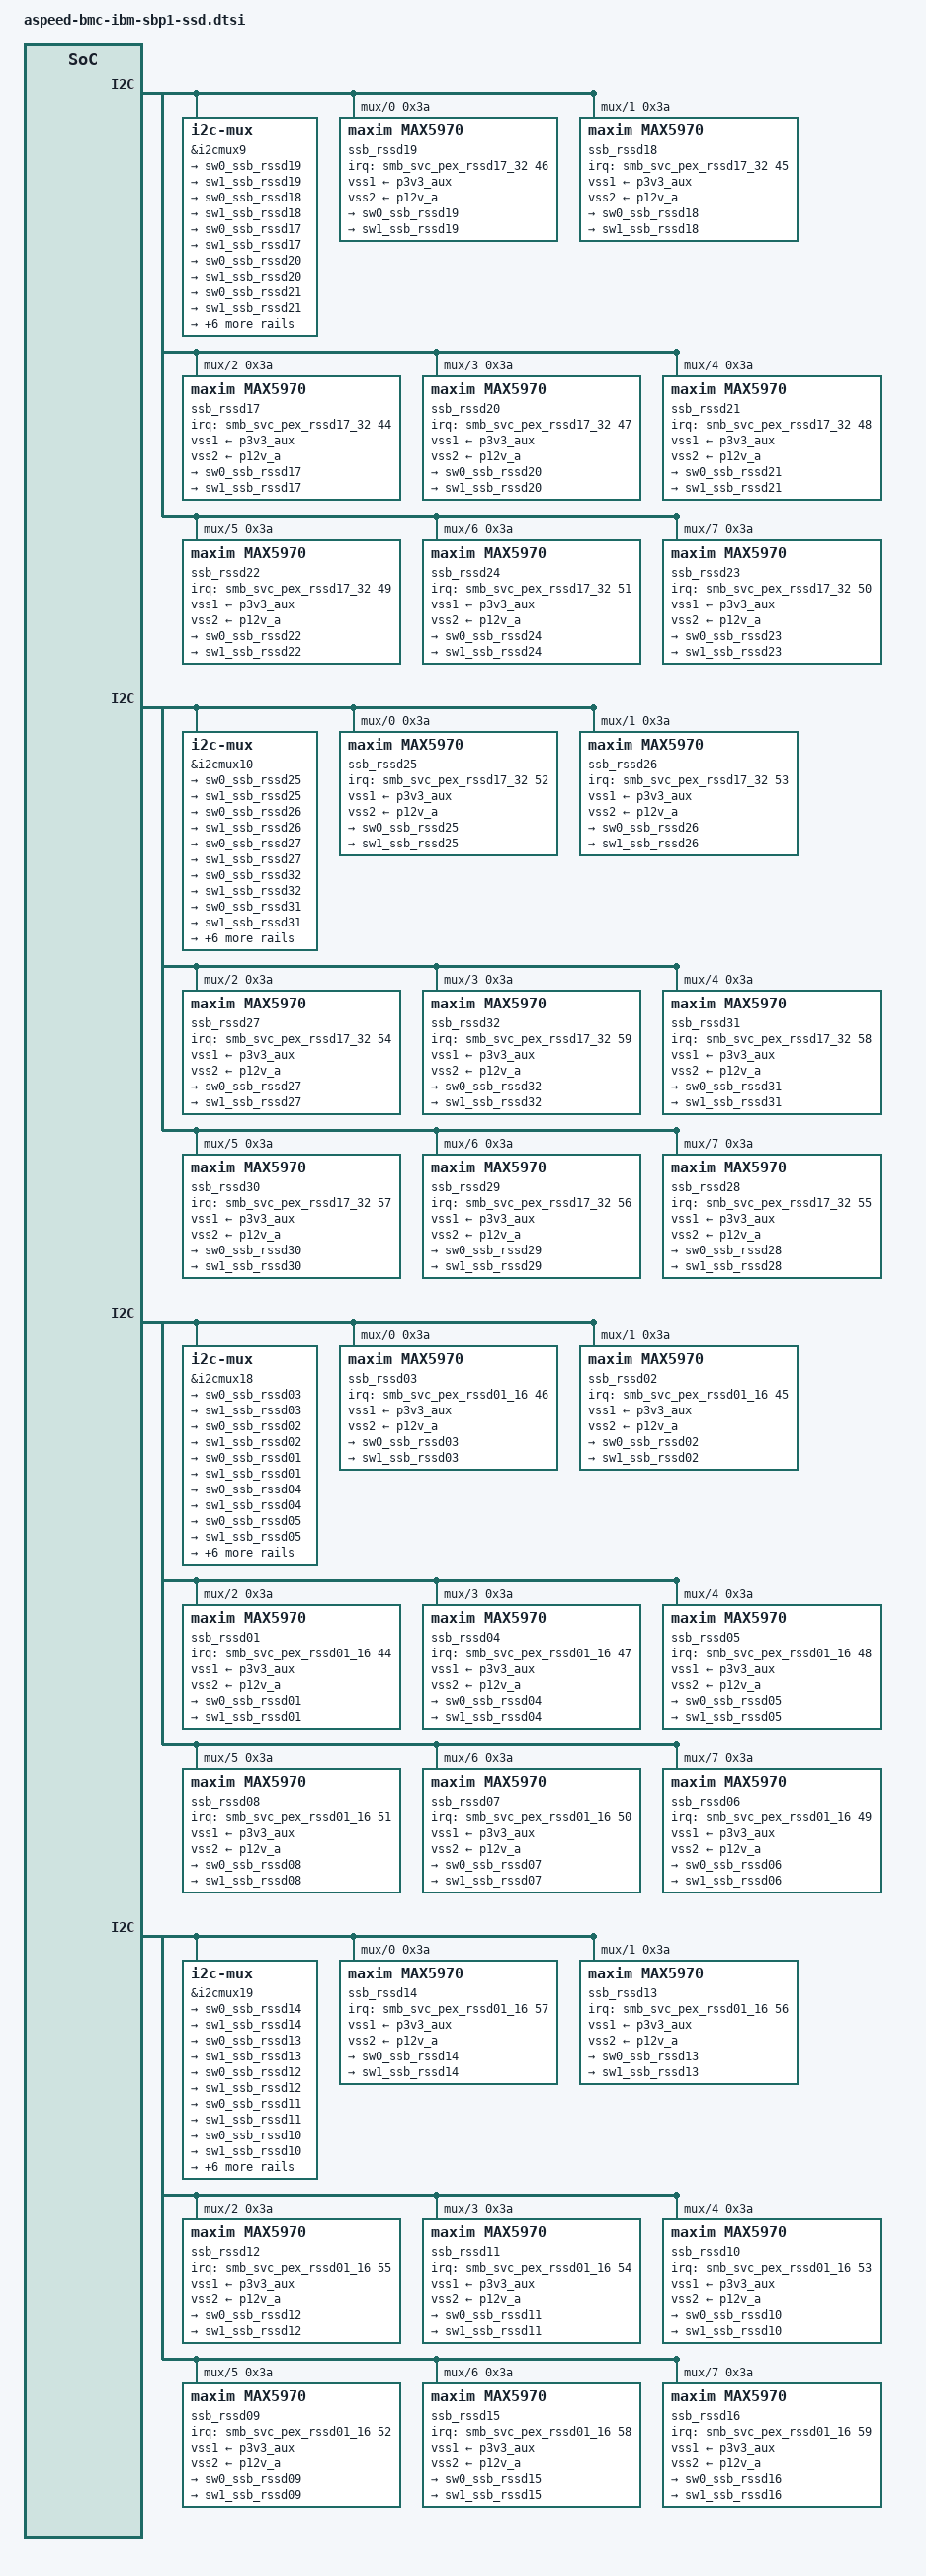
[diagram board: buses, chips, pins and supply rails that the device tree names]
&i2cmux9 {
	i2c@0 { // MUX_SSB_RSSD19
		#address-cells = <1>;
		#size-cells = <0>;
		reg = <0>;
		ssb_rssd19: regulator@3a {
			reg = <0x3a>;
			compatible = "maxim,max5970";
			#io-channel-cells = <1>;
			interrupt-parent = <&smb_svc_pex_rssd17_32>;
			interrupts = <46 IRQ_TYPE_LEVEL_LOW>; // SSB_RSSD19_ALERT_N
			// FIXME: Move to regulators
			vss1-supply = <&p3v3_aux>;
			vss2-supply = <&p12v_a>;
			shunt-resistor-micro-ohms = <100000 4500000>;
			leds {
				power {
					label = "rssd19:green:power";
					reg = <0>;
					default-state = "off";
				};
			};
			regulators {
				sw0_ssb_rssd19: SW0 {
					vss1-supply = <&p3v3_aux>;
					regulator-compatible = "SW0";
					regulator-name = "rssd19_3v3";
					shunt-resistor-micro-ohms = <100000>;
					regulator-over-current-protection;
					regulator-oc-protection-microamp = <410000>;
					regulator-enable-ramp-delay = <1000>;
				};
				sw1_ssb_rssd19: SW1 {
					vss2-supply = <&p12v_a>;
					regulator-compatible = "SW1";
					regulator-name = "rssd19_12v";
					shunt-resistor-micro-ohms = <9000>;
					regulator-over-current-protection;
					regulator-oc-protection-microamp = <4500000>;
					regulator-enable-ramp-delay = <1000>;
				};
			};
		};
	};
	i2c@1 { // MUX_SSB_RSSD18
		#address-cells = <1>;
		#size-cells = <0>;
		reg = <1>;
		ssb_rssd18: regulator@3a {
			reg = <0x3a>;
			compatible = "maxim,max5970";
			#io-channel-cells = <1>;
			interrupt-parent = <&smb_svc_pex_rssd17_32>;
			interrupts = <45 IRQ_TYPE_LEVEL_LOW>; // SSB_RSSD18_ALERT_N
			// FIXME: Move to regulators
			vss1-supply = <&p3v3_aux>;
			vss2-supply = <&p12v_a>;
			shunt-resistor-micro-ohms = <100000 4500000>;
			leds {
				power {
					label = "rssd18:green:power";
					reg = <0>;
					default-state = "off";
				};
			};
			regulators {
				sw0_ssb_rssd18: SW0 {
					vss1-supply = <&p3v3_aux>;
					regulator-compatible = "SW0";
					regulator-name = "rssd18_3v3";
					shunt-resistor-micro-ohms = <100000>;
					regulator-over-current-protection;
					regulator-oc-protection-microamp = <410000>;
					regulator-enable-ramp-delay = <1000>;
				};
				sw1_ssb_rssd18: SW1 {
					vss2-supply = <&p12v_a>;
					regulator-compatible = "SW1";
					regulator-name = "rssd18_12v";
					shunt-resistor-micro-ohms = <9000>;
					regulator-over-current-protection;
					regulator-oc-protection-microamp = <4500000>;
					regulator-enable-ramp-delay = <1000>;
				};
			};
		};
	};
	i2c@2 { // MUX_SSB_RSSD17
		#address-cells = <1>;
		#size-cells = <0>;
		reg = <2>;
		ssb_rssd17: regulator@3a {
			reg = <0x3a>;
			compatible = "maxim,max5970";
			#io-channel-cells = <1>;
			interrupt-parent = <&smb_svc_pex_rssd17_32>;
			interrupts = <44 IRQ_TYPE_LEVEL_LOW>; // SSB_RSSD17_ALERT_N
			// FIXME: Move to regulators
			vss1-supply = <&p3v3_aux>;
			vss2-supply = <&p12v_a>;
			shunt-resistor-micro-ohms = <100000 4500000>;
			leds {
				power {
					label = "rssd17:green:power";
					reg = <0>;
					default-state = "off";
				};
			};
			regulators {
				sw0_ssb_rssd17: SW0 {
					vss1-supply = <&p3v3_aux>;
					regulator-compatible = "SW0";
					regulator-name = "rssd17_3v3";
					shunt-resistor-micro-ohms = <100000>;
					regulator-over-current-protection;
					regulator-oc-protection-microamp = <410000>;
					regulator-enable-ramp-delay = <1000>;
				};
				sw1_ssb_rssd17: SW1 {
					vss2-supply = <&p12v_a>;
					regulator-compatible = "SW1";
					regulator-name = "rssd17_12v";
					shunt-resistor-micro-ohms = <9000>;
					regulator-over-current-protection;
					regulator-oc-protection-microamp = <4500000>;
					regulator-enable-ramp-delay = <1000>;
				};
			};
		};
	};
	i2c@3 { // MUX_SSB_RSSD20
		#address-cells = <1>;
		#size-cells = <0>;
		reg = <3>;
		ssb_rssd20: regulator@3a {
			reg = <0x3a>;
			compatible = "maxim,max5970";
			#io-channel-cells = <1>;
			interrupt-parent = <&smb_svc_pex_rssd17_32>;
			interrupts = <47 IRQ_TYPE_LEVEL_LOW>; // SSB_RSSD20_ALERT_N
			// FIXME: Move to regulators
			vss1-supply = <&p3v3_aux>;
			vss2-supply = <&p12v_a>;
			shunt-resistor-micro-ohms = <100000 4500000>;
			leds {
				power {
					label = "rssd20:green:power";
					reg = <0>;
					default-state = "off";
				};
			};
			regulators {
				sw0_ssb_rssd20: SW0 {
					vss1-supply = <&p3v3_aux>;
					regulator-compatible = "SW0";
					regulator-name = "rssd20_3v3";
					shunt-resistor-micro-ohms = <100000>;
					regulator-over-current-protection;
					regulator-oc-protection-microamp = <410000>;
					regulator-enable-ramp-delay = <1000>;
				};
				sw1_ssb_rssd20: SW1 {
					vss2-supply = <&p12v_a>;
					regulator-compatible = "SW1";
					regulator-name = "rssd20_12v";
					shunt-resistor-micro-ohms = <9000>;
					regulator-over-current-protection;
					regulator-oc-protection-microamp = <4500000>;
					regulator-enable-ramp-delay = <1000>;
				};
			};
		};
	};
	i2c@4 { // MUX_SSB_RSSD21
		#address-cells = <1>;
		#size-cells = <0>;
		reg = <4>;
		ssb_rssd21: regulator@3a {
			reg = <0x3a>;
			compatible = "maxim,max5970";
			#io-channel-cells = <1>;
			interrupt-parent = <&smb_svc_pex_rssd17_32>;
			interrupts = <48 IRQ_TYPE_LEVEL_LOW>; // SSB_RSSD21_ALERT_N
			// FIXME: Move to regulators
			vss1-supply = <&p3v3_aux>;
			vss2-supply = <&p12v_a>;
			shunt-resistor-micro-ohms = <100000 4500000>;
			leds {
				power {
					label = "rssd21:green:power";
					reg = <0>;
					default-state = "off";
				};
			};
			regulators {
				sw0_ssb_rssd21: SW0 {
					vss1-supply = <&p3v3_aux>;
					regulator-compatible = "SW0";
					regulator-name = "rssd21_3v3";
					shunt-resistor-micro-ohms = <100000>;
					regulator-over-current-protection;
					regulator-oc-protection-microamp = <410000>;
					regulator-enable-ramp-delay = <1000>;
				};
				sw1_ssb_rssd21: SW1 {
					vss2-supply = <&p12v_a>;
					regulator-compatible = "SW1";
					regulator-name = "rssd21_12v";
					shunt-resistor-micro-ohms = <9000>;
					regulator-over-current-protection;
					regulator-oc-protection-microamp = <4500000>;
					regulator-enable-ramp-delay = <1000>;
				};
			};
		};
	};
	i2c@5 { // MUX_SSB_RSSD22
		#address-cells = <1>;
		#size-cells = <0>;
		reg = <5>;
		ssb_rssd22: regulator@3a {
			reg = <0x3a>;
			compatible = "maxim,max5970";
			#io-channel-cells = <1>;
			interrupt-parent = <&smb_svc_pex_rssd17_32>;
			interrupts = <49 IRQ_TYPE_LEVEL_LOW>; // SSB_RSSD22_ALERT_N
			// FIXME: Move to regulators
			vss1-supply = <&p3v3_aux>;
			vss2-supply = <&p12v_a>;
			shunt-resistor-micro-ohms = <100000 4500000>;
			leds {
				power {
					label = "rssd22:green:power";
					reg = <0>;
					default-state = "off";
				};
			};
			regulators {
				sw0_ssb_rssd22: SW0 {
					vss1-supply = <&p3v3_aux>;
					regulator-compatible = "SW0";
					regulator-name = "rssd22_3v3";
					shunt-resistor-micro-ohms = <100000>;
					regulator-over-current-protection;
					regulator-oc-protection-microamp = <410000>;
					regulator-enable-ramp-delay = <1000>;
				};
				sw1_ssb_rssd22: SW1 {
					vss2-supply = <&p12v_a>;
					regulator-compatible = "SW1";
					regulator-name = "rssd22_12v";
					shunt-resistor-micro-ohms = <9000>;
					regulator-over-current-protection;
					regulator-oc-protection-microamp = <4500000>;
					regulator-enable-ramp-delay = <1000>;
				};
			};
		};
	};
	i2c@6 { // MUX_SSB_RSSD24
		#address-cells = <1>;
		#size-cells = <0>;
		reg = <6>;
		ssb_rssd24: regulator@3a {
			reg = <0x3a>;
			compatible = "maxim,max5970";
			#io-channel-cells = <1>;
			interrupt-parent = <&smb_svc_pex_rssd17_32>;
			interrupts = <51 IRQ_TYPE_LEVEL_LOW>; // SSB_RSSD24_ALERT_N
			// FIXME: Move to regulators
			vss1-supply = <&p3v3_aux>;
			vss2-supply = <&p12v_a>;
			shunt-resistor-micro-ohms = <100000 4500000>;
			leds {
				power {
					label = "rssd24:green:power";
					reg = <0>;
					default-state = "off";
				};
			};
			regulators {
				sw0_ssb_rssd24: SW0 {
					vss1-supply = <&p3v3_aux>;
					regulator-compatible = "SW0";
					regulator-name = "rssd24_3v3";
					shunt-resistor-micro-ohms = <100000>;
					regulator-over-current-protection;
					regulator-oc-protection-microamp = <410000>;
					regulator-enable-ramp-delay = <1000>;
				};
				sw1_ssb_rssd24: SW1 {
					vss2-supply = <&p12v_a>;
					regulator-compatible = "SW1";
					regulator-name = "rssd24_12v";
					shunt-resistor-micro-ohms = <9000>;
					regulator-over-current-protection;
					regulator-oc-protection-microamp = <4500000>;
					regulator-enable-ramp-delay = <1000>;
				};
			};
		};
	};
	i2c@7 { // MUX_SSB_RSSD23
		#address-cells = <1>;
		#size-cells = <0>;
		reg = <7>;
		ssb_rssd23: regulator@3a {
			reg = <0x3a>;
			compatible = "maxim,max5970";
			#io-channel-cells = <1>;
			interrupt-parent = <&smb_svc_pex_rssd17_32>;
			interrupts = <50 IRQ_TYPE_LEVEL_LOW>; // SSB_RSSD23_ALERT_N
			// FIXME: Move to regulators
			vss1-supply = <&p3v3_aux>;
			vss2-supply = <&p12v_a>;
			shunt-resistor-micro-ohms = <100000 4500000>;
			leds {
				power {
					label = "rssd23:green:power";
					reg = <0>;
					default-state = "off";
				};
			};
			regulators {
				sw0_ssb_rssd23: SW0 {
					vss1-supply = <&p3v3_aux>;
					regulator-compatible = "SW0";
					regulator-name = "rssd23_3v3";
					shunt-resistor-micro-ohms = <100000>;
					regulator-over-current-protection;
					regulator-oc-protection-microamp = <410000>;
					regulator-enable-ramp-delay = <1000>;
				};
				sw1_ssb_rssd23: SW1 {
					vss2-supply = <&p12v_a>;
					regulator-compatible = "SW1";
					regulator-name = "rssd23_12v";
					shunt-resistor-micro-ohms = <9000>;
					regulator-over-current-protection;
					regulator-oc-protection-microamp = <4500000>;
					regulator-enable-ramp-delay = <1000>;
				};
			};
		};
	};
};

&i2cmux10 {
	i2c@0 { // MUX_SSB_RSSD25
		#address-cells = <1>;
		#size-cells = <0>;
		reg = <0>;
		ssb_rssd25: regulator@3a {
			reg = <0x3a>;
			compatible = "maxim,max5970";
			#io-channel-cells = <1>;
			interrupt-parent = <&smb_svc_pex_rssd17_32>;
			interrupts = <52 IRQ_TYPE_LEVEL_LOW>; // SSB_RSSD25_ALERT_N
			// FIXME: Move to regulators
			vss1-supply = <&p3v3_aux>;
			vss2-supply = <&p12v_a>;
			shunt-resistor-micro-ohms = <100000 4500000>;
			leds {
				power {
					label = "rssd25:green:power";
					reg = <0>;
					default-state = "off";
				};
			};
			regulators {
				sw0_ssb_rssd25: SW0 {
					vss1-supply = <&p3v3_aux>;
					regulator-compatible = "SW0";
					regulator-name = "rssd25_3v3";
					shunt-resistor-micro-ohms = <100000>;
					regulator-over-current-protection;
					regulator-oc-protection-microamp = <410000>;
					regulator-enable-ramp-delay = <1000>;
				};
				sw1_ssb_rssd25: SW1 {
					vss2-supply = <&p12v_a>;
					regulator-compatible = "SW1";
					regulator-name = "rssd25_12v";
					shunt-resistor-micro-ohms = <9000>;
					regulator-over-current-protection;
					regulator-oc-protection-microamp = <4500000>;
					regulator-enable-ramp-delay = <1000>;
				};
			};
		};
	};
	i2c@1 { // MUX_SSB_RSSD26
		#address-cells = <1>;
		#size-cells = <0>;
		reg = <1>;
		ssb_rssd26: regulator@3a {
			reg = <0x3a>;
			compatible = "maxim,max5970";
			#io-channel-cells = <1>;
			interrupt-parent = <&smb_svc_pex_rssd17_32>;
			interrupts = <53 IRQ_TYPE_LEVEL_LOW>; // SSB_RSSD26_ALERT_N
			// FIXME: Move to regulators
			vss1-supply = <&p3v3_aux>;
			vss2-supply = <&p12v_a>;
			shunt-resistor-micro-ohms = <100000 4500000>;
			leds {
				power {
					label = "rssd26:green:power";
					reg = <0>;
					default-state = "off";
				};
			};
			regulators {
				sw0_ssb_rssd26: SW0 {
					vss1-supply = <&p3v3_aux>;
					regulator-compatible = "SW0";
					regulator-name = "rssd26_3v3";
					shunt-resistor-micro-ohms = <100000>;
					regulator-over-current-protection;
					regulator-oc-protection-microamp = <410000>;
					regulator-enable-ramp-delay = <1000>;
				};
				sw1_ssb_rssd26: SW1 {
					vss2-supply = <&p12v_a>;
					regulator-compatible = "SW1";
					regulator-name = "rssd26_12v";
					shunt-resistor-micro-ohms = <9000>;
					regulator-over-current-protection;
					regulator-oc-protection-microamp = <4500000>;
					regulator-enable-ramp-delay = <1000>;
				};
			};
		};
	};
	i2c@2 { // MUX_SSB_RSSD27
		#address-cells = <1>;
		#size-cells = <0>;
		reg = <2>;
		ssb_rssd27: regulator@3a {
			reg = <0x3a>;
			compatible = "maxim,max5970";
			#io-channel-cells = <1>;
			interrupt-parent = <&smb_svc_pex_rssd17_32>;
			interrupts = <54 IRQ_TYPE_LEVEL_LOW>; // SSB_RSSD27_ALERT_N
			// FIXME: Move to regulators
			vss1-supply = <&p3v3_aux>;
			vss2-supply = <&p12v_a>;
			shunt-resistor-micro-ohms = <100000 4500000>;
			leds {
				power {
					label = "rssd27:green:power";
					reg = <0>;
					default-state = "off";
				};
			};
			regulators {
				sw0_ssb_rssd27: SW0 {
					vss1-supply = <&p3v3_aux>;
					regulator-compatible = "SW0";
					regulator-name = "rssd27_3v3";
					shunt-resistor-micro-ohms = <100000>;
					regulator-over-current-protection;
					regulator-oc-protection-microamp = <410000>;
					regulator-enable-ramp-delay = <1000>;
				};
				sw1_ssb_rssd27: SW1 {
					vss2-supply = <&p12v_a>;
					regulator-compatible = "SW1";
					regulator-name = "rssd27_12v";
					shunt-resistor-micro-ohms = <9000>;
					regulator-over-current-protection;
					regulator-oc-protection-microamp = <4500000>;
					regulator-enable-ramp-delay = <1000>;
				};
			};
		};
	};
	i2c@3 { // MUX_SSB_RSSD32
		#address-cells = <1>;
		#size-cells = <0>;
		reg = <3>;
		ssb_rssd32: regulator@3a {
			reg = <0x3a>;
			compatible = "maxim,max5970";
			#io-channel-cells = <1>;
			interrupt-parent = <&smb_svc_pex_rssd17_32>;
			interrupts = <59 IRQ_TYPE_LEVEL_LOW>; // SSB_RSSD32_ALERT_N
			// FIXME: Move to regulators
			vss1-supply = <&p3v3_aux>;
			vss2-supply = <&p12v_a>;
			shunt-resistor-micro-ohms = <100000 4500000>;
			leds {
				power {
					label = "rssd32:green:power";
					reg = <0>;
					default-state = "off";
				};
			};
			regulators {
				sw0_ssb_rssd32: SW0 {
					vss1-supply = <&p3v3_aux>;
					regulator-compatible = "SW0";
					regulator-name = "rssd32_3v3";
					shunt-resistor-micro-ohms = <100000>;
					regulator-over-current-protection;
					regulator-oc-protection-microamp = <410000>;
					regulator-enable-ramp-delay = <1000>;
				};
				sw1_ssb_rssd32: SW1 {
					vss2-supply = <&p12v_a>;
					regulator-compatible = "SW1";
					regulator-name = "rssd32_12v";
					shunt-resistor-micro-ohms = <9000>;
					regulator-over-current-protection;
					regulator-oc-protection-microamp = <4500000>;
					regulator-enable-ramp-delay = <1000>;
				};
			};
		};
	};
	i2c@4 { // MUX_SSB_RSSD31
		#address-cells = <1>;
		#size-cells = <0>;
		reg = <4>;
		ssb_rssd31: regulator@3a {
			reg = <0x3a>;
			compatible = "maxim,max5970";
			#io-channel-cells = <1>;
			interrupt-parent = <&smb_svc_pex_rssd17_32>;
			interrupts = <58 IRQ_TYPE_LEVEL_LOW>; // SSB_RSSD31_ALERT_N
			// FIXME: Move to regulators
			vss1-supply = <&p3v3_aux>;
			vss2-supply = <&p12v_a>;
			shunt-resistor-micro-ohms = <100000 4500000>;
			leds {
				power {
					label = "rssd31:green:power";
					reg = <0>;
					default-state = "off";
				};
			};
			regulators {
				sw0_ssb_rssd31: SW0 {
					vss1-supply = <&p3v3_aux>;
					regulator-compatible = "SW0";
					regulator-name = "rssd31_3v3";
					shunt-resistor-micro-ohms = <100000>;
					regulator-over-current-protection;
					regulator-oc-protection-microamp = <410000>;
					regulator-enable-ramp-delay = <1000>;
				};
				sw1_ssb_rssd31: SW1 {
					vss2-supply = <&p12v_a>;
					regulator-compatible = "SW1";
					regulator-name = "rssd31_12v";
					shunt-resistor-micro-ohms = <9000>;
					regulator-over-current-protection;
					regulator-oc-protection-microamp = <4500000>;
					regulator-enable-ramp-delay = <1000>;
				};
			};
		};
	};
	i2c@5 { // MUX_SSB_RSSD30
		#address-cells = <1>;
		#size-cells = <0>;
		reg = <5>;
		ssb_rssd30: regulator@3a {
			reg = <0x3a>;
			compatible = "maxim,max5970";
			#io-channel-cells = <1>;
			interrupt-parent = <&smb_svc_pex_rssd17_32>;
			interrupts = <57 IRQ_TYPE_LEVEL_LOW>; // SSB_RSSD30_ALERT_N
			// FIXME: Move to regulators
			vss1-supply = <&p3v3_aux>;
			vss2-supply = <&p12v_a>;
			shunt-resistor-micro-ohms = <100000 4500000>;
			leds {
				power {
					label = "rssd30:green:power";
					reg = <0>;
					default-state = "off";
				};
			};
			regulators {
				sw0_ssb_rssd30: SW0 {
					vss1-supply = <&p3v3_aux>;
					regulator-compatible = "SW0";
					regulator-name = "rssd30_3v3";
					shunt-resistor-micro-ohms = <100000>;
					regulator-over-current-protection;
					regulator-oc-protection-microamp = <410000>;
					regulator-enable-ramp-delay = <1000>;
				};
				sw1_ssb_rssd30: SW1 {
					vss2-supply = <&p12v_a>;
					regulator-compatible = "SW1";
					regulator-name = "rssd30_12v";
					shunt-resistor-micro-ohms = <9000>;
					regulator-over-current-protection;
					regulator-oc-protection-microamp = <4500000>;
					regulator-enable-ramp-delay = <1000>;
				};
			};
		};
	};
	i2c@6 { // MUX_SSB_RSSD29
		#address-cells = <1>;
		#size-cells = <0>;
		reg = <6>;
		ssb_rssd29: regulator@3a {
			reg = <0x3a>;
			compatible = "maxim,max5970";
			#io-channel-cells = <1>;
			interrupt-parent = <&smb_svc_pex_rssd17_32>;
			interrupts = <56 IRQ_TYPE_LEVEL_LOW>; // SSB_RSSD29_ALERT_N
			// FIXME: Move to regulators
			vss1-supply = <&p3v3_aux>;
			vss2-supply = <&p12v_a>;
			shunt-resistor-micro-ohms = <100000 4500000>;
			leds {
				power {
					label = "rssd29:green:power";
					reg = <0>;
					default-state = "off";
				};
			};
			regulators {
				sw0_ssb_rssd29: SW0 {
					vss1-supply = <&p3v3_aux>;
					regulator-compatible = "SW0";
					regulator-name = "rssd29_3v3";
					shunt-resistor-micro-ohms = <100000>;
					regulator-over-current-protection;
					regulator-oc-protection-microamp = <410000>;
					regulator-enable-ramp-delay = <1000>;
				};
				sw1_ssb_rssd29: SW1 {
					vss2-supply = <&p12v_a>;
					regulator-compatible = "SW1";
					regulator-name = "rssd29_12v";
					shunt-resistor-micro-ohms = <9000>;
					regulator-over-current-protection;
					regulator-oc-protection-microamp = <4500000>;
					regulator-enable-ramp-delay = <1000>;
				};
			};
		};
	};
	i2c@7 { // MUX_SSB_RSSD28
		#address-cells = <1>;
		#size-cells = <0>;
		reg = <7>;
		ssb_rssd28: regulator@3a {
			reg = <0x3a>;
			compatible = "maxim,max5970";
			#io-channel-cells = <1>;
			interrupt-parent = <&smb_svc_pex_rssd17_32>;
			interrupts = <55 IRQ_TYPE_LEVEL_LOW>; // SSB_RSSD28_ALERT_N
			// FIXME: Move to regulators
			vss1-supply = <&p3v3_aux>;
			vss2-supply = <&p12v_a>;
			shunt-resistor-micro-ohms = <100000 4500000>;
			leds {
				power {
					label = "rssd28:green:power";
					reg = <0>;
					default-state = "off";
				};
			};
			regulators {
				sw0_ssb_rssd28: SW0 {
					vss1-supply = <&p3v3_aux>;
					regulator-compatible = "SW0";
					regulator-name = "rssd28_3v3";
					shunt-resistor-micro-ohms = <100000>;
					regulator-over-current-protection;
					regulator-oc-protection-microamp = <410000>;
					regulator-enable-ramp-delay = <1000>;
				};
				sw1_ssb_rssd28: SW1 {
					vss2-supply = <&p12v_a>;
					regulator-compatible = "SW1";
					regulator-name = "rssd28_12v";
					shunt-resistor-micro-ohms = <9000>;
					regulator-over-current-protection;
					regulator-oc-protection-microamp = <4500000>;
					regulator-enable-ramp-delay = <1000>;
				};
			};
		};
	};
};

&i2cmux18 {
	i2c@0 { // MUX_SSB_RSSD03
		#address-cells = <1>;
		#size-cells = <0>;
		reg = <0>;
		ssb_rssd03: regulator@3a {
			reg = <0x3a>;
			compatible = "maxim,max5970";
			#io-channel-cells = <1>;
			interrupt-parent = <&smb_svc_pex_rssd01_16>;
			interrupts = <46 IRQ_TYPE_LEVEL_LOW>; // SSB_RSSD03_ALERT_N
			// FIXME: Move to regulators
			vss1-supply = <&p3v3_aux>;
			vss2-supply = <&p12v_a>;
			shunt-resistor-micro-ohms = <100000 4500000>;
			leds {
				power {
					label = "rssd03:green:power";
					reg = <0>;
					default-state = "off";
				};
			};
			regulators {
				sw0_ssb_rssd03: SW0 {
					vss1-supply = <&p3v3_aux>;
					regulator-compatible = "SW0";
					regulator-name = "rssd03_3v3";
					shunt-resistor-micro-ohms = <100000>;
					regulator-over-current-protection;
					regulator-oc-protection-microamp = <410000>;
					regulator-enable-ramp-delay = <1000>;
				};
				sw1_ssb_rssd03: SW1 {
					vss2-supply = <&p12v_a>;
					regulator-compatible = "SW1";
					regulator-name = "rssd03_12v";
					shunt-resistor-micro-ohms = <9000>;
					regulator-over-current-protection;
					regulator-oc-protection-microamp = <4500000>;
					regulator-enable-ramp-delay = <1000>;
				};
			};
		};
	};
	i2c@1 { // MUX_SSB_RSSD02
		#address-cells = <1>;
		#size-cells = <0>;
		reg = <1>;
		ssb_rssd02: regulator@3a {
			reg = <0x3a>;
			compatible = "maxim,max5970";
			#io-channel-cells = <1>;
			interrupt-parent = <&smb_svc_pex_rssd01_16>;
			interrupts = <45 IRQ_TYPE_LEVEL_LOW>; // SSB_RSSD02_ALERT_N
			// FIXME: Move to regulators
			vss1-supply = <&p3v3_aux>;
			vss2-supply = <&p12v_a>;
			shunt-resistor-micro-ohms = <100000 4500000>;
			leds {
				power {
					label = "rssd02:green:power";
					reg = <0>;
					default-state = "off";
				};
			};
			regulators {
				sw0_ssb_rssd02: SW0 {
					vss1-supply = <&p3v3_aux>;
					regulator-compatible = "SW0";
					regulator-name = "rssd02_3v3";
					shunt-resistor-micro-ohms = <100000>;
					regulator-over-current-protection;
					regulator-oc-protection-microamp = <410000>;
					regulator-enable-ramp-delay = <1000>;
				};
				sw1_ssb_rssd02: SW1 {
					vss2-supply = <&p12v_a>;
					regulator-compatible = "SW1";
					regulator-name = "rssd02_12v";
					shunt-resistor-micro-ohms = <9000>;
					regulator-over-current-protection;
					regulator-oc-protection-microamp = <4500000>;
					regulator-enable-ramp-delay = <1000>;
				};
			};
		};
	};
	i2c@2 { // MUX_SSB_RSSD01
		#address-cells = <1>;
		#size-cells = <0>;
		reg = <2>;
		ssb_rssd01: regulator@3a {
			reg = <0x3a>;
			compatible = "maxim,max5970";
			#io-channel-cells = <1>;
			interrupt-parent = <&smb_svc_pex_rssd01_16>;
			interrupts = <44 IRQ_TYPE_LEVEL_LOW>; // SSB_RSSD01_ALERT_N
			// FIXME: Move to regulators
			vss1-supply = <&p3v3_aux>;
			vss2-supply = <&p12v_a>;
			shunt-resistor-micro-ohms = <100000 4500000>;
			leds {
				power {
					label = "rssd01:green:power";
					reg = <0>;
					default-state = "off";
				};
			};
			regulators {
				sw0_ssb_rssd01: SW0 {
					vss1-supply = <&p3v3_aux>;
					regulator-compatible = "SW0";
					regulator-name = "rssd01_3v3";
					shunt-resistor-micro-ohms = <100000>;
					regulator-over-current-protection;
					regulator-oc-protection-microamp = <410000>;
					regulator-enable-ramp-delay = <1000>;
				};
				sw1_ssb_rssd01: SW1 {
					vss2-supply = <&p12v_a>;
					regulator-compatible = "SW1";
					regulator-name = "rssd01_12v";
					shunt-resistor-micro-ohms = <9000>;
					regulator-over-current-protection;
					regulator-oc-protection-microamp = <4500000>;
					regulator-enable-ramp-delay = <1000>;
				};
			};
		};
	};
	i2c@3 { // MUX_SSB_RSSD04
		#address-cells = <1>;
		#size-cells = <0>;
		reg = <3>;
		ssb_rssd04: regulator@3a {
			reg = <0x3a>;
			compatible = "maxim,max5970";
			#io-channel-cells = <1>;
			interrupt-parent = <&smb_svc_pex_rssd01_16>;
			interrupts = <47 IRQ_TYPE_LEVEL_LOW>; // SSB_RSSD04_ALERT_N
			// FIXME: Move to regulators
			vss1-supply = <&p3v3_aux>;
			vss2-supply = <&p12v_a>;
			shunt-resistor-micro-ohms = <100000 4500000>;
			leds {
				power {
					label = "rssd04:green:power";
					reg = <0>;
					default-state = "off";
				};
			};
			regulators {
				sw0_ssb_rssd04: SW0 {
					vss1-supply = <&p3v3_aux>;
					regulator-compatible = "SW0";
					regulator-name = "rssd04_3v3";
					shunt-resistor-micro-ohms = <100000>;
					regulator-over-current-protection;
					regulator-oc-protection-microamp = <410000>;
					regulator-enable-ramp-delay = <1000>;
				};
				sw1_ssb_rssd04: SW1 {
					vss2-supply = <&p12v_a>;
					regulator-compatible = "SW1";
					regulator-name = "rssd04_12v";
					shunt-resistor-micro-ohms = <9000>;
					regulator-over-current-protection;
					regulator-oc-protection-microamp = <4500000>;
					regulator-enable-ramp-delay = <1000>;
				};
			};
		};
	};
	i2c@4 { // MUX_SSB_RSSD05
		#address-cells = <1>;
		#size-cells = <0>;
		reg = <4>;
		ssb_rssd05: regulator@3a {
			reg = <0x3a>;
			compatible = "maxim,max5970";
			#io-channel-cells = <1>;
			interrupt-parent = <&smb_svc_pex_rssd01_16>;
			interrupts = <48 IRQ_TYPE_LEVEL_LOW>; // SSB_RSSD05_ALERT_N
			// FIXME: Move to regulators
			vss1-supply = <&p3v3_aux>;
			vss2-supply = <&p12v_a>;
			shunt-resistor-micro-ohms = <100000 4500000>;
			leds {
				power {
					label = "rssd05:green:power";
					reg = <0>;
					default-state = "off";
				};
			};
			regulators {
				sw0_ssb_rssd05: SW0 {
					vss1-supply = <&p3v3_aux>;
					regulator-compatible = "SW0";
					regulator-name = "rssd05_3v3";
					shunt-resistor-micro-ohms = <100000>;
					regulator-over-current-protection;
					regulator-oc-protection-microamp = <410000>;
					regulator-enable-ramp-delay = <1000>;
				};
				sw1_ssb_rssd05: SW1 {
					vss2-supply = <&p12v_a>;
					regulator-compatible = "SW1";
					regulator-name = "rssd05_12v";
					shunt-resistor-micro-ohms = <9000>;
					regulator-over-current-protection;
					regulator-oc-protection-microamp = <4500000>;
					regulator-enable-ramp-delay = <1000>;
				};
			};
		};
	};
	i2c@5 { // MUX_SSB_RSSD08
		#address-cells = <1>;
		#size-cells = <0>;
		reg = <5>;
		ssb_rssd08: regulator@3a {
			reg = <0x3a>;
			compatible = "maxim,max5970";
			#io-channel-cells = <1>;
			interrupt-parent = <&smb_svc_pex_rssd01_16>;
			interrupts = <51 IRQ_TYPE_LEVEL_LOW>; // SSB_RSSD08_ALERT_N
			// FIXME: Move to regulators
			vss1-supply = <&p3v3_aux>;
			vss2-supply = <&p12v_a>;
			shunt-resistor-micro-ohms = <100000 4500000>;
			leds {
				power {
					label = "rssd08:green:power";
					reg = <0>;
					default-state = "off";
				};
			};
			regulators {
				sw0_ssb_rssd08: SW0 {
					vss1-supply = <&p3v3_aux>;
					regulator-compatible = "SW0";
					regulator-name = "rssd08_3v3";
					shunt-resistor-micro-ohms = <100000>;
					regulator-over-current-protection;
					regulator-oc-protection-microamp = <410000>;
					regulator-enable-ramp-delay = <1000>;
				};
				sw1_ssb_rssd08: SW1 {
					vss2-supply = <&p12v_a>;
					regulator-compatible = "SW1";
					regulator-name = "rssd08_12v";
					shunt-resistor-micro-ohms = <9000>;
					regulator-over-current-protection;
					regulator-oc-protection-microamp = <4500000>;
					regulator-enable-ramp-delay = <1000>;
				};
			};
		};
	};
	i2c@6 { // MUX_SSB_RSSD07
		#address-cells = <1>;
		#size-cells = <0>;
		reg = <6>;
		ssb_rssd07: regulator@3a {
			reg = <0x3a>;
			compatible = "maxim,max5970";
			#io-channel-cells = <1>;
			interrupt-parent = <&smb_svc_pex_rssd01_16>;
			interrupts = <50 IRQ_TYPE_LEVEL_LOW>; // SSB_RSSD07_ALERT_N
			// FIXME: Move to regulators
			vss1-supply = <&p3v3_aux>;
			vss2-supply = <&p12v_a>;
			shunt-resistor-micro-ohms = <100000 4500000>;
			leds {
				power {
					label = "rssd07:green:power";
					reg = <0>;
					default-state = "off";
				};
			};
			regulators {
				sw0_ssb_rssd07: SW0 {
					vss1-supply = <&p3v3_aux>;
					regulator-compatible = "SW0";
					regulator-name = "rssd07_3v3";
					shunt-resistor-micro-ohms = <100000>;
					regulator-over-current-protection;
					regulator-oc-protection-microamp = <410000>;
					regulator-enable-ramp-delay = <1000>;
				};
				sw1_ssb_rssd07: SW1 {
					vss2-supply = <&p12v_a>;
					regulator-compatible = "SW1";
					regulator-name = "rssd07_12v";
					shunt-resistor-micro-ohms = <9000>;
					regulator-over-current-protection;
					regulator-oc-protection-microamp = <4500000>;
					regulator-enable-ramp-delay = <1000>;
				};
			};
		};
	};
	i2c@7 { // MUX_SSB_RSSD06
		#address-cells = <1>;
		#size-cells = <0>;
		reg = <7>;
		ssb_rssd06: regulator@3a {
			reg = <0x3a>;
			compatible = "maxim,max5970";
			#io-channel-cells = <1>;
			interrupt-parent = <&smb_svc_pex_rssd01_16>;
			interrupts = <49 IRQ_TYPE_LEVEL_LOW>; // SSB_RSSD06_ALERT_N
			// FIXME: Move to regulators
			vss1-supply = <&p3v3_aux>;
			vss2-supply = <&p12v_a>;
			shunt-resistor-micro-ohms = <100000 4500000>;
			leds {
				power {
					label = "rssd06:green:power";
					reg = <0>;
					default-state = "off";
				};
			};
			regulators {
				sw0_ssb_rssd06: SW0 {
					vss1-supply = <&p3v3_aux>;
					regulator-compatible = "SW0";
					regulator-name = "rssd06_3v3";
					shunt-resistor-micro-ohms = <100000>;
					regulator-over-current-protection;
					regulator-oc-protection-microamp = <410000>;
					regulator-enable-ramp-delay = <1000>;
				};
				sw1_ssb_rssd06: SW1 {
					vss2-supply = <&p12v_a>;
					regulator-compatible = "SW1";
					regulator-name = "rssd06_12v";
					shunt-resistor-micro-ohms = <9000>;
					regulator-over-current-protection;
					regulator-oc-protection-microamp = <4500000>;
					regulator-enable-ramp-delay = <1000>;
				};
			};
		};
	};
};

&i2cmux19 {
	i2c@0 { // MUX_SSB_RSSD14
		#address-cells = <1>;
		#size-cells = <0>;
		reg = <0>;
		ssb_rssd14: regulator@3a {
			reg = <0x3a>;
			compatible = "maxim,max5970";
			#io-channel-cells = <1>;
			interrupt-parent = <&smb_svc_pex_rssd01_16>;
			interrupts = <57 IRQ_TYPE_LEVEL_LOW>; // SSB_RSSD14_ALERT_N
			// FIXME: Move to regulators
			vss1-supply = <&p3v3_aux>;
			vss2-supply = <&p12v_a>;
			shunt-resistor-micro-ohms = <100000 4500000>;
			leds {
				power {
					label = "rssd14:green:power";
					reg = <0>;
					default-state = "off";
				};
			};
			regulators {
				sw0_ssb_rssd14: SW0 {
					vss1-supply = <&p3v3_aux>;
					regulator-compatible = "SW0";
					regulator-name = "rssd14_3v3";
					shunt-resistor-micro-ohms = <100000>;
					regulator-over-current-protection;
					regulator-oc-protection-microamp = <410000>;
					regulator-enable-ramp-delay = <1000>;
				};
				sw1_ssb_rssd14: SW1 {
					vss2-supply = <&p12v_a>;
					regulator-compatible = "SW1";
					regulator-name = "rssd14_12v";
					shunt-resistor-micro-ohms = <9000>;
					regulator-over-current-protection;
					regulator-oc-protection-microamp = <4500000>;
					regulator-enable-ramp-delay = <1000>;
				};
			};
		};
	};
	i2c@1 { // MUX_SSB_RSSD13
		#address-cells = <1>;
		#size-cells = <0>;
		reg = <1>;
		ssb_rssd13: regulator@3a {
			reg = <0x3a>;
			compatible = "maxim,max5970";
			#io-channel-cells = <1>;
			interrupt-parent = <&smb_svc_pex_rssd01_16>;
			interrupts = <56 IRQ_TYPE_LEVEL_LOW>; // SSB_RSSD13_ALERT_N
			// FIXME: Move to regulators
			vss1-supply = <&p3v3_aux>;
			vss2-supply = <&p12v_a>;
			shunt-resistor-micro-ohms = <100000 4500000>;
			leds {
				power {
					label = "rssd13:green:power";
					reg = <0>;
					default-state = "off";
				};
			};
			regulators {
				sw0_ssb_rssd13: SW0 {
					vss1-supply = <&p3v3_aux>;
					regulator-compatible = "SW0";
					regulator-name = "rssd13_3v3";
					shunt-resistor-micro-ohms = <100000>;
					regulator-over-current-protection;
					regulator-oc-protection-microamp = <410000>;
					regulator-enable-ramp-delay = <1000>;
				};
				sw1_ssb_rssd13: SW1 {
					vss2-supply = <&p12v_a>;
					regulator-compatible = "SW1";
					regulator-name = "rssd13_12v";
					shunt-resistor-micro-ohms = <9000>;
					regulator-over-current-protection;
					regulator-oc-protection-microamp = <4500000>;
					regulator-enable-ramp-delay = <1000>;
				};
			};
		};
	};
	i2c@2 { // MUX_SSB_RSSD12
		#address-cells = <1>;
		#size-cells = <0>;
		reg = <2>;
		ssb_rssd12: regulator@3a {
			reg = <0x3a>;
			compatible = "maxim,max5970";
			#io-channel-cells = <1>;
			interrupt-parent = <&smb_svc_pex_rssd01_16>;
			interrupts = <55 IRQ_TYPE_LEVEL_LOW>; // SSB_RSSD12_ALERT_N
			// FIXME: Move to regulators
			vss1-supply = <&p3v3_aux>;
			vss2-supply = <&p12v_a>;
			shunt-resistor-micro-ohms = <100000 4500000>;
			leds {
				power {
					label = "rssd12:green:power";
					reg = <0>;
					default-state = "off";
				};
			};
			regulators {
				sw0_ssb_rssd12: SW0 {
					vss1-supply = <&p3v3_aux>;
					regulator-compatible = "SW0";
					regulator-name = "rssd12_3v3";
					shunt-resistor-micro-ohms = <100000>;
					regulator-over-current-protection;
					regulator-oc-protection-microamp = <410000>;
					regulator-enable-ramp-delay = <1000>;
				};
				sw1_ssb_rssd12: SW1 {
					vss2-supply = <&p12v_a>;
					regulator-compatible = "SW1";
					regulator-name = "rssd12_12v";
					shunt-resistor-micro-ohms = <9000>;
					regulator-over-current-protection;
					regulator-oc-protection-microamp = <4500000>;
					regulator-enable-ramp-delay = <1000>;
				};
			};
		};
	};
	i2c@3 { // MUX_SSB_RSSD11
		#address-cells = <1>;
		#size-cells = <0>;
		reg = <3>;
		ssb_rssd11: regulator@3a {
			reg = <0x3a>;
			compatible = "maxim,max5970";
			#io-channel-cells = <1>;
			interrupt-parent = <&smb_svc_pex_rssd01_16>;
			interrupts = <54 IRQ_TYPE_LEVEL_LOW>; // SSB_RSSD11_ALERT_N
			// FIXME: Move to regulators
			vss1-supply = <&p3v3_aux>;
			vss2-supply = <&p12v_a>;
			shunt-resistor-micro-ohms = <100000 4500000>;
			leds {
				power {
					label = "rssd11:green:power";
					reg = <0>;
					default-state = "off";
				};
			};
			regulators {
				sw0_ssb_rssd11: SW0 {
					vss1-supply = <&p3v3_aux>;
					regulator-compatible = "SW0";
					regulator-name = "rssd11_3v3";
					shunt-resistor-micro-ohms = <100000>;
					regulator-over-current-protection;
					regulator-oc-protection-microamp = <410000>;
					regulator-enable-ramp-delay = <1000>;
				};
				sw1_ssb_rssd11: SW1 {
					vss2-supply = <&p12v_a>;
					regulator-compatible = "SW1";
					regulator-name = "rssd11_12v";
					shunt-resistor-micro-ohms = <9000>;
					regulator-over-current-protection;
					regulator-oc-protection-microamp = <4500000>;
					regulator-enable-ramp-delay = <1000>;
				};
			};
		};
	};
	i2c@4 { // MUX_SSB_RSSD10
		#address-cells = <1>;
		#size-cells = <0>;
		reg = <4>;
		ssb_rssd10: regulator@3a {
			reg = <0x3a>;
			compatible = "maxim,max5970";
			#io-channel-cells = <1>;
			interrupt-parent = <&smb_svc_pex_rssd01_16>;
			interrupts = <53 IRQ_TYPE_LEVEL_LOW>; // SSB_RSSD10_ALERT_N
			// FIXME: Move to regulators
			vss1-supply = <&p3v3_aux>;
			vss2-supply = <&p12v_a>;
			shunt-resistor-micro-ohms = <100000 4500000>;
			leds {
				power {
					label = "rssd10:green:power";
					reg = <0>;
					default-state = "off";
				};
			};
			regulators {
				sw0_ssb_rssd10: SW0 {
					vss1-supply = <&p3v3_aux>;
					regulator-compatible = "SW0";
					regulator-name = "rssd10_3v3";
					shunt-resistor-micro-ohms = <100000>;
					regulator-over-current-protection;
					regulator-oc-protection-microamp = <410000>;
					regulator-enable-ramp-delay = <1000>;
				};
				sw1_ssb_rssd10: SW1 {
					vss2-supply = <&p12v_a>;
					regulator-compatible = "SW1";
					regulator-name = "rssd10_12v";
					shunt-resistor-micro-ohms = <9000>;
					regulator-over-current-protection;
					regulator-oc-protection-microamp = <4500000>;
					regulator-enable-ramp-delay = <1000>;
				};
			};
		};
	};
	i2c@5 { // MUX_SSB_RSSD09
		#address-cells = <1>;
		#size-cells = <0>;
		reg = <5>;
		ssb_rssd09: regulator@3a {
			reg = <0x3a>;
			compatible = "maxim,max5970";
			#io-channel-cells = <1>;
			interrupt-parent = <&smb_svc_pex_rssd01_16>;
			interrupts = <52 IRQ_TYPE_LEVEL_LOW>; // SSB_RSSD09_ALERT_N
			// FIXME: Move to regulators
			vss1-supply = <&p3v3_aux>;
			vss2-supply = <&p12v_a>;
			shunt-resistor-micro-ohms = <100000 4500000>;
			leds {
				power {
					label = "rssd09:green:power";
					reg = <0>;
					default-state = "off";
				};
			};
			regulators {
				sw0_ssb_rssd09: SW0 {
					vss1-supply = <&p3v3_aux>;
					regulator-compatible = "SW0";
					regulator-name = "rssd09_3v3";
					shunt-resistor-micro-ohms = <100000>;
					regulator-over-current-protection;
					regulator-oc-protection-microamp = <410000>;
					regulator-enable-ramp-delay = <1000>;
				};
				sw1_ssb_rssd09: SW1 {
					vss2-supply = <&p12v_a>;
					regulator-compatible = "SW1";
					regulator-name = "rssd09_12v";
					shunt-resistor-micro-ohms = <9000>;
					regulator-over-current-protection;
					regulator-oc-protection-microamp = <4500000>;
					regulator-enable-ramp-delay = <1000>;
				};
			};
		};
	};
	i2c@6 { // MUX_SSB_RSSD15
		#address-cells = <1>;
		#size-cells = <0>;
		reg = <6>;
		ssb_rssd15: regulator@3a {
			reg = <0x3a>;
			compatible = "maxim,max5970";
			#io-channel-cells = <1>;
			interrupt-parent = <&smb_svc_pex_rssd01_16>;
			interrupts = <58 IRQ_TYPE_LEVEL_LOW>; // SSB_RSSD15_ALERT_N
			// FIXME: Move to regulators
			vss1-supply = <&p3v3_aux>;
			vss2-supply = <&p12v_a>;
			shunt-resistor-micro-ohms = <100000 4500000>;
			leds {
				power {
					label = "rssd15:green:power";
					reg = <0>;
					default-state = "off";
				};
			};
			regulators {
				sw0_ssb_rssd15: SW0 {
					vss1-supply = <&p3v3_aux>;
					regulator-compatible = "SW0";
					regulator-name = "rssd15_3v3";
					shunt-resistor-micro-ohms = <100000>;
					regulator-over-current-protection;
					regulator-oc-protection-microamp = <410000>;
					regulator-enable-ramp-delay = <1000>;
				};
				sw1_ssb_rssd15: SW1 {
					vss2-supply = <&p12v_a>;
					regulator-compatible = "SW1";
					regulator-name = "rssd15_12v";
					shunt-resistor-micro-ohms = <9000>;
					regulator-over-current-protection;
					regulator-oc-protection-microamp = <4500000>;
					regulator-enable-ramp-delay = <1000>;
				};
			};
		};
	};
	i2c@7 { // MUX_SSB_RSSD16
		#address-cells = <1>;
		#size-cells = <0>;
		reg = <7>;
		ssb_rssd16: regulator@3a {
			reg = <0x3a>;
			compatible = "maxim,max5970";
			#io-channel-cells = <1>;
			interrupt-parent = <&smb_svc_pex_rssd01_16>;
			interrupts = <59 IRQ_TYPE_LEVEL_LOW>; // SSB_RSSD16_ALERT_N
			// FIXME: Move to regulators
			vss1-supply = <&p3v3_aux>;
			vss2-supply = <&p12v_a>;
			shunt-resistor-micro-ohms = <100000 4500000>;
			leds {
				power {
					label = "rssd16:green:power";
					reg = <0>;
					default-state = "off";
				};
			};
			regulators {
				sw0_ssb_rssd16: SW0 {
					vss1-supply = <&p3v3_aux>;
					regulator-compatible = "SW0";
					regulator-name = "rssd16_3v3";
					shunt-resistor-micro-ohms = <100000>;
					regulator-over-current-protection;
					regulator-oc-protection-microamp = <410000>;
					regulator-enable-ramp-delay = <1000>;
				};
				sw1_ssb_rssd16: SW1 {
					vss2-supply = <&p12v_a>;
					regulator-compatible = "SW1";
					regulator-name = "rssd16_12v";
					shunt-resistor-micro-ohms = <9000>;
					regulator-over-current-protection;
					regulator-oc-protection-microamp = <4500000>;
					regulator-enable-ramp-delay = <1000>;
				};
			};
		};
	};
};
